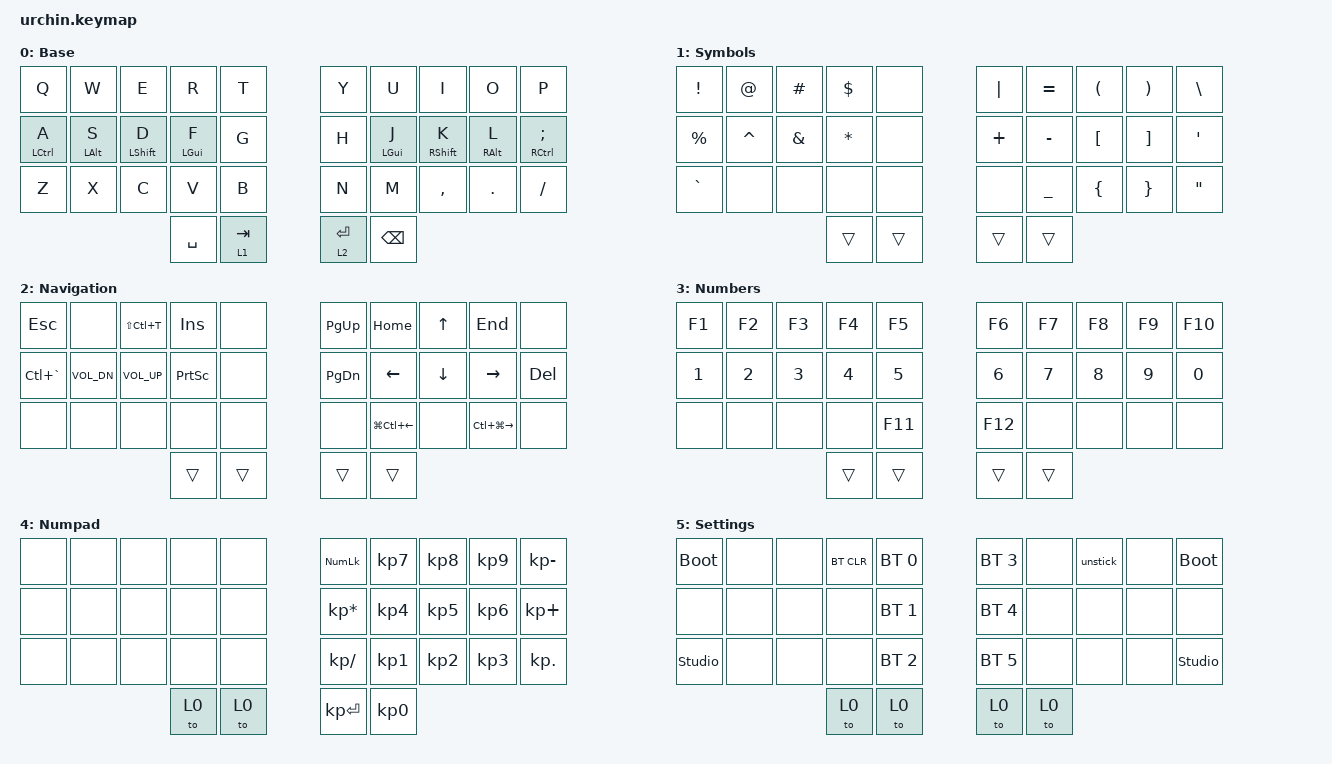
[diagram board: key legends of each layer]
#include <behaviors.dtsi>
#include <dt-bindings/zmk/bt.h>
#include <dt-bindings/zmk/keys.h>

#include "key-labels.h"

// Layer definitions

#define LAYER_BAS 0
#define LAYER_SYM 1
#define LAYER_NAV 2
#define LAYER_NUM 3
#define LAYER_PAD 4 // Disabled for now.
#define LAYER_SET 5

// -----------------

&sk {
    // don't release mods on other mods presses

    ignore-modifiers;
};

/ {
    behaviors {
        // HRM tuning order:
        //
        // 1. require-prior-idle-ms  (main tuning knob)
        //    ↑ = fewer accidental mods, harder intended holds
        //    ↓ = easier holds, more accidental mods
        //
        //    accidental mods while typing      -> increase
        //    intended mods become taps         -> decrease
        //    one hand worse                    -> split per-hand behaviors
        //    shift worse than ctrl/alt/gui     -> separate shift behavior
        //
        //    Typical:
        //      shift: 75-110
        //      ctrl/alt/gui: 115-150
        //
        // 2. quick-tap-ms  (tap-repeat / tap-hold transition)
        //    ↑ = easier repeats, more sticky/repeat risk
        //    ↓ = cleaner separation, harder repeats
        //
        //    repeated letters / sticky taps -> decrease
        //
        //    Typical: 125-175
        //
        // 3. tapping-term-ms  (broad tap-vs-hold window)
        //    ↑ = easier holds, more accidental holds
        //    ↓ = crisper taps, harder holds
        //
        //    Tune LAST. Usually not the real HRM problem.
        //    Typical: 250-300
        //
        // Recommended HRM setup:
        //   flavor = "balanced";          // avoid hold-preferred
        //   hold-trigger-on-release;      // prevents same-hand accidental holds
        //   positional hold-tap;          // opposite hand + thumbs only
        //
        // Example:
        //   left HRMs  -> KEYS_R + THUMBS
        //   right HRMs -> KEYS_L + THUMBS
        //
        // General advice:
        //   - tune one variable at a time
        //   - test real coding/text workflows, not just lowercase typing tests
        //   - once "mostly correct", stop tuning for a few days and adapt

        hml: homerow_mod_left {
            compatible = "zmk,behavior-hold-tap";
            label = "HML";
            #binding-cells = <2>;
            flavor = "balanced";
            tapping-term-ms = <280>;
            quick-tap-ms = <175>;
            require-prior-idle-ms = <125>;
            bindings = <&kp>, <&kp>;
            hold-trigger-key-positions = <KEYS_R THUMBS>;
            hold-trigger-on-release;
        };

        hmr: homerow_mod_right {
            compatible = "zmk,behavior-hold-tap";
            label = "HMR";
            #binding-cells = <2>;
            flavor = "balanced";
            tapping-term-ms = <280>;
            quick-tap-ms = <175>;
            require-prior-idle-ms = <125>;
            bindings = <&kp>, <&kp>;
            hold-trigger-key-positions = <KEYS_L THUMBS>;
            hold-trigger-on-release;
        };

        hml_shift: homerow_mod_left_shift {
            compatible = "zmk,behavior-hold-tap";
            label = "HML_SHIFT";
            #binding-cells = <2>;
            flavor = "balanced";
            tapping-term-ms = <280>;
            quick-tap-ms = <175>;
            require-prior-idle-ms = <85>;
            bindings = <&kp>, <&kp>;
            hold-trigger-key-positions = <KEYS_R THUMBS>;
            hold-trigger-on-release;
        };

        hmr_shift: homerow_mod_right_shift {
            compatible = "zmk,behavior-hold-tap";
            label = "HMR_SHIFT";
            #binding-cells = <2>;
            flavor = "balanced";
            tapping-term-ms = <280>;
            quick-tap-ms = <175>;
            require-prior-idle-ms = <95>;
            bindings = <&kp>, <&kp>;
            hold-trigger-key-positions = <KEYS_L THUMBS>;
            hold-trigger-on-release;
        };

        lt_fast: layer_tap_fast {
            compatible = "zmk,behavior-hold-tap";
            label = "LAYER_TAP_FAST";
            #binding-cells = <2>;
            flavor = "hold-preferred";
            tapping-term-ms = <200>;
            quick-tap-ms = <175>;
            bindings = <&mo>, <&kp>;
        };
    };

    macros {
        // Releases any stuck modifiers.
        unstick: unstick {
            label = "ZM_unstick";
            compatible = "zmk,behavior-macro";
            #binding-cells = <0>;
            bindings = <&kp LSHIFT &kp RSHIFT &kp LCTRL &kp RCTRL &kp LALT &kp RALT &kp LGUI &kp RGUI>;
        };
    };

    // Raw layer numbers are used for keymap-editor compatibility.
    // 0 Base, 1 Symbols, 2 Navigation, 3 Numbers, 4 Numpad, 5 Settings

    combos {
        compatible = "zmk,combos";

        // TODO: This was too easy to accidentally press (at least while I'm learning the keyboard).
        // combo_pad_layer {
        //     bindings = <&to 4>;
        //     key-positions = <32 33>;
        //     layers = <0>;
        // };

        combo_settings_layer {
            bindings = <&to 5>;
            key-positions = <30 31 32 33>;
            layers = <0>;
        };

        combo_mute {
            bindings = <&kp C_MUTE>;
            key-positions = <11 12>;
            layers = <2>;
        };

        combo_cut {
            bindings = <&kp LC(X)>;
            key-positions = <20 21>;
            layers = <0>;
        };

        combo_copy {
            bindings = <&kp LC(C)>;
            key-positions = <21 22>;
            layers = <0>;
        };

        combo_paste {
            bindings = <&kp LC(V)>;
            key-positions = <22 23>;
            layers = <0>;
        };

        combo_escape {
            bindings = <&kp ESC>;
            key-positions = <1 2>;
            layers = <0>;
        };

        // Considering getting rid of enter & tab on the thumb keys.
        // combo_enter {
        //     bindings = <&kp ENTER>;
        //     key-positions = <24 25 26>; // fix these positions
        //     layers = <0>;
        // }
        // combo_tab {
        //     bindings = <&kp TAB>;
        //     key-positions = <24 25 26>; // fix these positions
        //     layers = <0>;
        // }

        combo_caps_lock {
            bindings = <&kp CAPS>;
            key-positions = <26 27 28>;
            layers = <0>;
        };

        combo_caps_word {
            bindings = <&caps_word>;
            key-positions = <26 27>;
            layers = <0>;
        };

        combo_ctrl_space {
            bindings = <&kp LC(SPACE)>;
            key-positions = <27 28>;
            layers = <0>;
        };
    };

    // Raw layer numbers are used for keymap-editor compatibility.
    // 0 Base, 1 Symbols, 2 Navigation, 3 Numbers, 4 Numpad, 5 Settings

    keymap {
        compatible = "zmk,keymap";

        bas {
            label = "Base";
            bindings = <
&kp Q         &kp W        &kp E               &kp R        &kp T           &kp Y             &kp U          &kp I               &kp O        &kp P
&hml LCTRL A  &hml LALT S  &hml_shift LSHFT D  &hml LGUI F  &kp G           &kp H             &hmr LGUI J    &hmr_shift RSHFT K  &hmr RALT L  &hmr RCTRL SEMI
&kp Z         &kp X        &kp C               &kp V        &kp B           &kp N             &kp M          &kp COMMA           &kp PERIOD   &kp FSLH
                                               &kp SPACE    &lt_fast 1 TAB  &lt_fast 2 ENTER  &kp BACKSPACE
            >;
        };

        sym {
            label = "Symbols";
            bindings = <
&kp EXCL   &kp AT     &kp HASH  &kp DLLR   &none   &kp PIPE  &kp EQUAL  &kp LPAR  &kp RPAR  &kp BSLH
&kp PRCNT  &kp CARET  &kp AMPS  &kp ASTRK  &none   &kp PLUS  &kp MINUS  &kp LBKT  &kp RBKT  &kp SQT
&kp GRAVE  &none      &none     &none      &none   &none     &kp UNDER  &kp LBRC  &kp RBRC  &kp DQT
                                &trans     &trans  &trans    &trans
            >;
        };

        nav {
            label = "Navigation";
            bindings = <
&kp ESC        &none         &kp LS(LC(T))  &kp INS    &none   &kp PG_UP  &kp HOME          &kp UP    &kp END            &none
&kp LC(GRAVE)  &kp C_VOL_DN  &kp C_VOL_UP   &kp PSCRN  &none   &kp PG_DN  &kp LEFT          &kp DOWN  &kp RIGHT          &kp DEL
&none          &none         &none          &none      &none   &none      &kp LG(LC(LEFT))  &none     &kp LC(LG(RIGHT))  &none
                                            &trans     &trans  &trans     &trans
            >;
        };

        num {
            label = "Numbers";
            bindings = <
&kp F1  &kp F2  &kp F3  &kp F4  &kp F5   &kp F6   &kp F7  &kp F8  &kp F9  &kp F10
&kp N1  &kp N2  &kp N3  &kp N4  &kp N5   &kp N6   &kp N7  &kp N8  &kp N9  &kp N0
&none   &none   &none   &none   &kp F11  &kp F12  &none   &none   &none   &none
                        &trans  &trans   &trans   &trans
            >;
        };

        pad {
            label = "Numpad";
            bindings = <
&none  &none  &none  &none  &none  &kp KP_NUMLOCK   &kp KP_N7  &kp KP_N8  &kp KP_N9  &kp KP_MINUS
&none  &none  &none  &none  &none  &kp KP_MULTIPLY  &kp KP_N4  &kp KP_N5  &kp KP_N6  &kp KP_PLUS
&none  &none  &none  &none  &none  &kp KP_DIVIDE    &kp KP_N1  &kp KP_N2  &kp KP_N3  &kp KP_DOT
                     &to 0  &to 0  &kp KP_ENTER     &kp KP_N0
            >;
        };

        set {
            label = "Settings";
            bindings = <
&bootloader     &none  &none  &bt BT_CLR  &bt BT_SEL 0  &bt BT_SEL 3  &none  &unstick  &none  &bootloader
&none           &none  &none  &none       &bt BT_SEL 1  &bt BT_SEL 4  &none  &none     &none  &none
&studio_unlock  &none  &none  &none       &bt BT_SEL 2  &bt BT_SEL 5  &none  &none     &none  &studio_unlock
                              &to 0       &to 0         &to 0         &to 0
            >;
        };
    };

    conditional_layers {
        compatible = "zmk,conditional-layers";

        conditional_layer_num {
            if-layers = <1 2>;
            then-layer = <3>;
        };
    };
};
